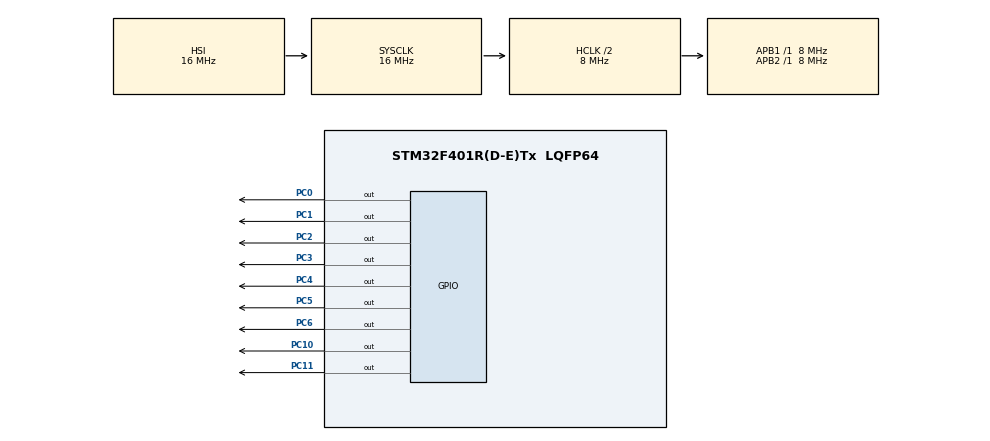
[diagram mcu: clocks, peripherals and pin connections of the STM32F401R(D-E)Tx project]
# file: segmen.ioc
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Mcu.Family=STM32F4
Mcu.Name=STM32F401R(D-E)Tx
Mcu.Package=LQFP64
NVIC.PriorityGroup=NVIC_PRIORITYGROUP_4
NVIC.TIM1_UP_TIM10_IRQn=true\:0\:0\:false\:false\:true\:true\:true\:true
PC0.Signal=GPIO_Output
PC1.Signal=GPIO_Output
PC10.Signal=GPIO_Output
PC11.Signal=GPIO_Output
PC2.Signal=GPIO_Output
PC3.Signal=GPIO_Output
PC4.Signal=GPIO_Output
PC5.Signal=GPIO_Output
PC6.Signal=GPIO_Output
ProjectManager.HeapSize=0x200
ProjectManager.StackSize=0x400
ProjectManager.TargetToolchain=STM32CubeIDE
RCC.AHBCLKDivider=RCC_SYSCLK_DIV2
RCC.AHBFreq_Value=8000000
RCC.APB1Freq_Value=8000000
RCC.APB1TimFreq_Value=8000000
RCC.APB2Freq_Value=8000000
RCC.APB2TimFreq_Value=8000000
RCC.CortexFreq_Value=8000000
RCC.HCLKFreq_Value=8000000
RCC.HSE_VALUE=25000000
RCC.HSI_VALUE=16000000
RCC.LSE_VALUE=32768
RCC.SYSCLKFreq_VALUE=16000000
RCC.VCOOutputFreq_Value=192000000
TIM10.AutoReloadPreload=TIM_AUTORELOAD_PRELOAD_ENABLE
TIM10.Period=999
TIM10.Prescaler=7999
VP_TIM10_VS_ClockSourceINT.Mode=Enable_Timer
board=custom

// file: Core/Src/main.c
/* USER CODE BEGIN Header */
/**
  ******************************************************************************
  * @file           : main.c
  * @brief          : Main program body
  ******************************************************************************
  * @attention
  *
  * Copyright (c) 2022 STMicroelectronics.
  * All rights reserved.
  *
  * This software is licensed under terms that can be found in the LICENSE file
  * in the root directory of this software component.
  * If no LICENSE file comes with this software, it is provided AS-IS.
  *
  ******************************************************************************
  */
/* USER CODE END Header */
#include "main.h"

TIM_HandleTypeDef htim10;

/* USER CODE BEGIN PV */
int sayı = 0 ;
/* USER CODE END PV */

void SystemClock_Config(void);
static void MX_GPIO_Init(void);
static void MX_TIM10_Init(void);

/* USER CODE BEGIN 0 */
void displaycontrol(int deger){

	            if(deger==0){
					GPIOC->ODR=0x3F;

				}
				else if(deger==1){
					GPIOC->ODR=0x06;

				}
				else if(deger==2){
					GPIOC->ODR=0x5B;

							}
				else if(deger==3){
					GPIOC->ODR=0x4F;

							}
				else if(deger==4){
					GPIOC->ODR=0x66;

							}
				else if(deger==5){
					GPIOC->ODR=0x6D;

							}
				else if(deger==6){
					GPIOC->ODR=0x7D;

							}
				else if(deger==7){
					GPIOC->ODR=0x07;

							}
				else if(deger==8){
					GPIOC->ODR=0x7F;

							}
				else if(deger==9){
					GPIOC->ODR=0x6F;

							}

		}

/* USER CODE END 0 */

int main(void)
{

  /* MCU Configuration--------------------------------------------------------*/

  /* Reset of all peripherals, Initializes the Flash interface and the Systick. */
  HAL_Init();

  /* Configure the system clock */
  SystemClock_Config();

  /* Initialize all configured peripherals */
  MX_GPIO_Init();
  MX_TIM10_Init();
  /* USER CODE BEGIN 2 */
  HAL_TIM_Base_Start_IT(&htim10);
  /* USER CODE END 2 */

  /* Infinite loop */
  while (1)
  {

  }
}

void SystemClock_Config(void)
{
  RCC_OscInitTypeDef RCC_OscInitStruct = {0};
  RCC_ClkInitTypeDef RCC_ClkInitStruct = {0};

  /** Configure the main internal regulator output voltage
  */
  __HAL_RCC_PWR_CLK_ENABLE();
  __HAL_PWR_VOLTAGESCALING_CONFIG(PWR_REGULATOR_VOLTAGE_SCALE2);

  /** Initializes the RCC Oscillators according to the specified parameters
  * in the RCC_OscInitTypeDef structure.
  */
  RCC_OscInitStruct.OscillatorType = RCC_OSCILLATORTYPE_HSI;
  RCC_OscInitStruct.HSIState = RCC_HSI_ON;
  RCC_OscInitStruct.HSICalibrationValue = RCC_HSICALIBRATION_DEFAULT;
  RCC_OscInitStruct.PLL.PLLState = RCC_PLL_NONE;
  if (HAL_RCC_OscConfig(&RCC_OscInitStruct) != HAL_OK)
  {
    Error_Handler();
  }

  /** Initializes the CPU, AHB and APB buses clocks
  */
  RCC_ClkInitStruct.ClockType = RCC_CLOCKTYPE_HCLK|RCC_CLOCKTYPE_SYSCLK
                              |RCC_CLOCKTYPE_PCLK1|RCC_CLOCKTYPE_PCLK2;
  RCC_ClkInitStruct.SYSCLKSource = RCC_SYSCLKSOURCE_HSI;
  RCC_ClkInitStruct.AHBCLKDivider = RCC_SYSCLK_DIV2;
  RCC_ClkInitStruct.APB1CLKDivider = RCC_HCLK_DIV1;
  RCC_ClkInitStruct.APB2CLKDivider = RCC_HCLK_DIV1;

  if (HAL_RCC_ClockConfig(&RCC_ClkInitStruct, FLASH_LATENCY_0) != HAL_OK)
  {
    Error_Handler();
  }
}

static void MX_TIM10_Init(void)
{

  htim10.Instance = TIM10;
  htim10.Init.Prescaler = 3999;
  htim10.Init.CounterMode = TIM_COUNTERMODE_UP;
  htim10.Init.Period = 999;
  htim10.Init.ClockDivision = TIM_CLOCKDIVISION_DIV1;
  htim10.Init.AutoReloadPreload = TIM_AUTORELOAD_PRELOAD_ENABLE;
  if (HAL_TIM_Base_Init(&htim10) != HAL_OK)
  {
    Error_Handler();
  }

}

static void MX_GPIO_Init(void)
{
  GPIO_InitTypeDef GPIO_InitStruct = {0};

  /* GPIO Ports Clock Enable */
  __HAL_RCC_GPIOC_CLK_ENABLE();

  /*Configure GPIO pin Output Level */
  HAL_GPIO_WritePin(GPIOC, GPIO_PIN_0|GPIO_PIN_1|GPIO_PIN_2|GPIO_PIN_3
                          |GPIO_PIN_4|GPIO_PIN_5|GPIO_PIN_6|GPIO_PIN_10
                          |GPIO_PIN_11, GPIO_PIN_RESET);

  /*Configure GPIO pins : PC0 PC1 PC2 PC3
                           PC4 PC5 PC6 PC10
                           PC11 */
  GPIO_InitStruct.Pin = GPIO_PIN_0|GPIO_PIN_1|GPIO_PIN_2|GPIO_PIN_3
                          |GPIO_PIN_4|GPIO_PIN_5|GPIO_PIN_6|GPIO_PIN_10
                          |GPIO_PIN_11;
  GPIO_InitStruct.Mode = GPIO_MODE_OUTPUT_PP;
  GPIO_InitStruct.Pull = GPIO_NOPULL;
  GPIO_InitStruct.Speed = GPIO_SPEED_FREQ_LOW;
  HAL_GPIO_Init(GPIOC, &GPIO_InitStruct);

}

/* USER CODE BEGIN 4 */
int i = 9 ;
void HAL_TIM_PeriodElapsedCallback(TIM_HandleTypeDef *htim){

	if (htim->Instance==TIM10) {
     displaycontrol(i);
     i--;
     if (i==-1) {
		i=9;
	}

	}

}
/* USER CODE END 4 */

void Error_Handler(void)
{
  __disable_irq();
  while (1)
  {
  }
}
